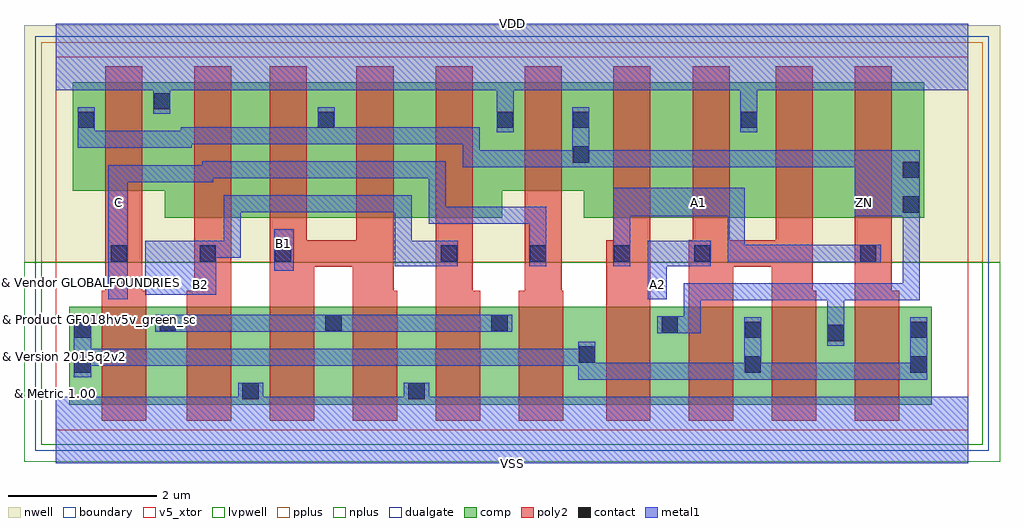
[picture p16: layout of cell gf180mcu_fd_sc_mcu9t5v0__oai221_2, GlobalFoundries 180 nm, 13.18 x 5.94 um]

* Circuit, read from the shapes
.subckt gf180mcu_fd_sc_mcu9t5v0__oai221_2 A1 A2 B1 B2 C VDD VSS ZN
XM1 n1 C n2 VSUBS nfet_05v0 w=1.32u l=0.6u m=2
XM2 VSS B2 n1 VSUBS nfet_05v0 w=1.32u l=0.6u m=2
XM3 n1 B1 VSS VSUBS nfet_05v0 w=1.32u l=0.6u m=2
XM4 ZN A1 n2 VSUBS nfet_05v0 w=1.32u l=0.6u m=2
XM5 n2 A2 ZN VSUBS nfet_05v0 w=1.32u l=0.6u m=2
XM6 VDD C ZN n3 pfet_05v0 w=1.46u l=0.5u m=2
XM7 n4 B2 VDD n3 pfet_05v0 w=1.83u l=0.5u
XM8 ZN B1 n4 n3 pfet_05v0 w=1.83u l=0.5u
XM9 n5 B1 ZN n3 pfet_05v0 w=1.83u l=0.5u
XM10 VDD B2 n5 n3 pfet_05v0 w=1.83u l=0.5u
XM11 n6 A1 ZN n3 pfet_05v0 w=1.83u l=0.5u
XM12 VDD A2 n6 n3 pfet_05v0 w=1.83u l=0.5u
XM13 n7 A2 VDD n3 pfet_05v0 w=1.83u l=0.5u
XM14 ZN A1 n7 n3 pfet_05v0 w=1.83u l=0.5u
.ends

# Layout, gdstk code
import gdstk
lib = gdstk.Library(unit=1e-6, precision=1e-09)
def R(c, l, rs):  # rectangles x0, y0, x1, y1
    for r in rs: c.add(gdstk.rectangle(r[:2], r[2:], *l))
def A(c, l, x, y, w, h, nx, ny, dx, dy):  # array of equal rectangles
    R(c, l, [(x+i*dx, y+j*dy, x+i*dx+w, y+j*dy+h) for i in range(nx) for j in range(ny)])
def P(c, l, *ps):  # polygons
    for p in ps: c.add(gdstk.Polygon(p, *l))
boundary = (0, 0)
nwell = (21, 0)
comp = (22, 0)
poly2 = (30, 0)
pplus = (31, 0)
nplus = (32, 0)
contact = (33, 0)
metal1 = (34, 0)
dualgate = (55, 0)
v5_xtor = (112, 1)
lvpwell = (204, 0)

gf180mcu_fd_sc_mcu9t5v0_ = lib.new_cell('gf180mcu_fd_sc_mcu9t5v0__oai221_2')
R(gf180mcu_fd_sc_mcu9t5v0_, boundary, [(0,0,12.32,5.04)])
R(gf180mcu_fd_sc_mcu9t5v0_, nwell, [(-0.43,2.265,12.75,5.47)])
R(gf180mcu_fd_sc_mcu9t5v0_, comp, [(0.18,0.345,11.83,1.665)])
P(gf180mcu_fd_sc_mcu9t5v0_, comp, [(1.47,2.865),(1.47,3.235),(0.23,3.235),(0.23,4.695),(11.73,4.695),(11.73,2.865),(7.13,2.865),(7.13,3.235),(6.03,3.235),(6.03,2.865)])
P(gf180mcu_fd_sc_mcu9t5v0_, poly2, [(0.62,0.125),(0.62,1.885),(0.67,1.885),(0.67,4.915),(1.17,4.915),(1.17,1.885),(1.22,1.885),(1.22,0.125)],
  [(1.77,0.125),(1.77,1.885),(1.87,1.885),(1.87,4.915),(2.37,4.915),(2.37,0.125)],
  [(2.89,0.125),(2.89,4.915),(3.39,4.915),(3.39,2.565),(4.06,2.565),(4.06,4.915),(4.56,4.915),(4.56,1.885),(4.61,1.885),(4.61,0.125),(4.01,0.125),(4.01,2.205),(3.49,2.205),(3.49,0.125)],
  [(5.13,0.125),(5.13,4.915),(5.63,4.915),(5.63,1.885),(5.73,1.885),(5.73,0.125)],
  [(6.25,0.125),(6.25,1.885),(6.33,1.885),(6.33,4.915),(6.83,4.915),(6.83,1.885),(6.85,1.885),(6.85,0.125)],
  [(7.43,0.125),(7.43,2.565),(7.53,2.565),(7.53,4.915),(8.03,4.915),(8.03,0.125)],
  [(8.55,0.125),(8.55,2.565),(8.6,2.565),(8.6,4.915),(9.1,4.915),(9.1,2.565),(9.72,2.565),(9.72,4.915),(10.22,4.915),(10.22,1.885),(10.27,1.885),(10.27,0.125),(9.67,0.125),(9.67,2.205),(9.15,2.205),(9.15,0.125)],
  [(10.79,0.125),(10.79,4.915),(11.29,4.915),(11.29,1.885),(11.39,1.885),(11.39,0.125)])
R(gf180mcu_fd_sc_mcu9t5v0_, pplus, [(-0.2,2.265,12.52,5.24)])
R(gf180mcu_fd_sc_mcu9t5v0_, nplus, [(-0.2,-0.2,12.52,2.265)])
A(gf180mcu_fd_sc_mcu9t5v0_, contact, 1.4, 1.335, 0.22, 0.22, 3, 1, 2.24, 0)
R(gf180mcu_fd_sc_mcu9t5v0_, contact, [(2.52,0.415,2.74,0.635), (4.76,0.415,4.98,0.635), (0.25,0.775,0.47,0.995), (9.3,0.775,9.52,0.995), (11.54,0.775,11.76,0.995), (7.06,0.91,7.28,1.13), (10.42,1.2,10.64,1.42), (0.25,1.245,0.47,1.465), (9.3,1.245,9.52,1.465), (11.54,1.245,11.76,1.465), (8.18,1.315,8.4,1.535), (0.74,2.275,0.96,2.495), (1.94,2.275,2.16,2.495), (2.96,2.275,3.18,2.495), (5.2,2.275,5.42,2.495), (6.4,2.275,6.62,2.495), (7.535,2.275,7.755,2.495), (8.62,2.275,8.84,2.495), (10.86,2.275,11.08,2.495), (11.44,2.935,11.66,3.155), (11.44,3.405,11.66,3.625), (6.98,3.61,7.2,3.83), (0.3,4.08,0.52,4.3), (3.54,4.08,3.76,4.3), (5.96,4.08,6.18,4.3), (6.98,4.08,7.2,4.3), (9.25,4.08,9.47,4.3), (1.32,4.33,1.54,4.55)])
R(gf180mcu_fd_sc_mcu9t5v0_, metal1, [(1.34,1.33,6.16,1.56), (2.95,2.15,3.21,2.71)])
P(gf180mcu_fd_sc_mcu9t5v0_, metal1, [(1.21,1.83),(1.21,2.555),(2.27,2.555),(2.27,3.17),(4.805,3.17),(4.805,2.555),(5.425,2.555),(5.425,2.215),(4.575,2.215),(4.575,2.94),(2.5,2.94),(2.5,2.325),(2.165,2.325),(2.165,1.83)],
  [(0.71,1.77),(0.71,3.58),(1.98,3.58),(1.98,3.63),(5.265,3.63),(5.265,3.015),(6.625,3.015),(6.625,2.215),(6.395,2.215),(6.395,2.785),(5.035,2.785),(5.035,3.4),(2.125,3.4),(2.125,3.35),(0.97,3.35),(0.97,1.77)],
  [(7.99,1.77),(7.99,2.555),(8.845,2.555),(8.845,2.215),(8.25,2.215),(8.25,1.77)],
  [(7.53,2.215),(7.53,3.27),(9.305,3.27),(9.305,2.5),(11.14,2.5),(11.14,2.27),(9.075,2.27),(9.075,2.89),(7.76,2.89),(7.76,2.215)],
  [(10.415,1.14),(10.415,1.755),(8.71,1.755),(8.71,1.31),(8.12,1.31),(8.12,1.54),(8.48,1.54),(8.48,1.985),(11.435,1.985),(11.435,2.89),(10.79,2.89),(10.79,3.55),(5.495,3.55),(5.495,3.86),(1.835,3.86),(1.835,3.81),(0.295,3.81),(0.295,4.36),(0.525,4.36),(0.525,4.04),(1.69,4.04),(1.69,4.09),(3.535,4.09),(3.535,4.36),(3.765,4.36),(3.765,4.09),(5.725,4.09),(5.725,3.78),(6.975,3.78),(6.975,4.36),(7.205,4.36),(7.205,3.78),(11.665,3.78),(11.665,1.755),(10.645,1.755),(10.645,1.14)],
  [(7.055,0.68),(7.055,0.87),(0.475,0.87),(0.475,0.715),(0.245,0.715),(0.245,1.525),(0.475,1.525),(0.475,1.1),(7.055,1.1),(7.055,1.19),(7.285,1.19),(7.285,0.91),(9.295,0.91),(9.295,1.525),(9.525,1.525),(9.525,0.91),(11.535,0.91),(11.535,1.525),(11.765,1.525),(11.765,0.68)],
  [(0,-0.45),(0,0.45),(2.46,0.45),(2.46,0.64),(2.8,0.64),(2.8,0.45),(4.7,0.45),(4.7,0.64),(5.04,0.64),(5.04,0.45),(12.32,0.45),(12.32,-0.45)],
  [(5.955,4.02),(5.955,4.59),(1.545,4.59),(1.545,4.27),(1.315,4.27),(1.315,4.59),(0,4.59),(0,5.49),(12.32,5.49),(12.32,4.59),(9.475,4.59),(9.475,4.02),(9.245,4.02),(9.245,4.59),(6.185,4.59),(6.185,4.02)])
R(gf180mcu_fd_sc_mcu9t5v0_, dualgate, [(-0.28,-0.28,12.6,5.32)])
R(gf180mcu_fd_sc_mcu9t5v0_, v5_xtor, [(0,0,12.32,5.04)])
R(gf180mcu_fd_sc_mcu9t5v0_, lvpwell, [(-0.43,-0.43,12.75,2.265)])
gf180mcu_fd_sc_mcu9t5v0_.add(gdstk.Label('A1', (8.68,3.08), layer=34, texttype=10))
gf180mcu_fd_sc_mcu9t5v0_.add(gdstk.Label('A2', (8.12,1.96), layer=34, texttype=10))
gf180mcu_fd_sc_mcu9t5v0_.add(gdstk.Label('B1', (3.08,2.52), layer=34, texttype=10))
gf180mcu_fd_sc_mcu9t5v0_.add(gdstk.Label('B2', (1.96,1.96), layer=34, texttype=10))
gf180mcu_fd_sc_mcu9t5v0_.add(gdstk.Label('C', (0.84,3.08), layer=34, texttype=10))
gf180mcu_fd_sc_mcu9t5v0_.add(gdstk.Label('VDD', (6.16,5.49), layer=34, texttype=10))
gf180mcu_fd_sc_mcu9t5v0_.add(gdstk.Label('VSS', (6.16,-0.45), layer=34, texttype=10))
gf180mcu_fd_sc_mcu9t5v0_.add(gdstk.Label('ZN', (10.92,3.08), layer=34, texttype=10))
gf180mcu_fd_sc_mcu9t5v0_.add(gdstk.Label('& Vendor GLOBALFOUNDRIES', (0,2), layer=63, texttype=63))
gf180mcu_fd_sc_mcu9t5v0_.add(gdstk.Label('& Product GF018hv5v_green_sc9', (0,1.5), layer=63, texttype=63))
gf180mcu_fd_sc_mcu9t5v0_.add(gdstk.Label('& Version 2015q2v2', (0,1), layer=63, texttype=63))
gf180mcu_fd_sc_mcu9t5v0_.add(gdstk.Label('& Metric 1.00', (0,0.5), layer=63, texttype=63))

lib.write_gds('gf180mcu_fd_sc_mcu9t5v0__oai221_2.gds')
